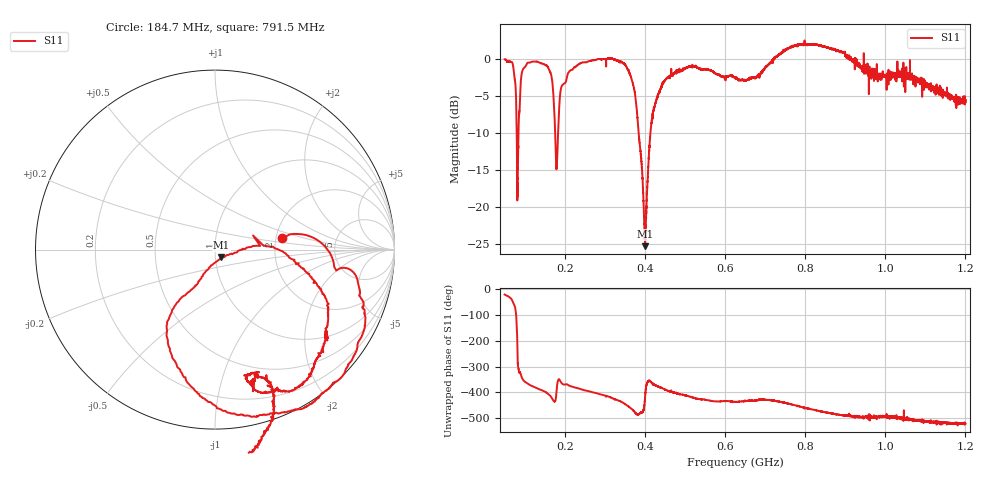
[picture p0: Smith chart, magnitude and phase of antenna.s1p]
! Calibrated high-resolution NanoVNA antenna measurement
# Hz S RI R 50
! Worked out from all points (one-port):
!   40001 points, 50 MHz to 1.2 GHz, reference 50 ohm
!   lowest |S11| = -25.3 dB at 400.7 MHz (marker M1), VSWR 1.11, Z = 53.4 - j4.48 ohm
!   |S11| at or under -10 dB: 80.22 MHz to 84.61 MHz (4.391 MHz wide, 5.33 % of centre); 176.1 MHz to 183.5 MHz (7.36 MHz wide, 4.09 % of centre); 384.6 MHz to 413.9 MHz (29.37 MHz wide, 7.36 % of centre) (the widest 3 of 6)
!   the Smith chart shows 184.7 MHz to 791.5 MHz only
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5e7  0.9256 -0.3696
6.457625e7  0.7809 -0.5476
7.279875e7  0.4411 -0.7065
8.015875e7  -0.2154 -0.244
8.809375e7  0.3996 0.3042
9.556875e7  0.8366 0.1493
1.049988e8  0.9233 -0.0481
1.4407e8  0.7879 -0.4974
1.637925e8  0.4932 -0.648
1.736825e8  0.1274 -0.4563
1.796912e8  0.151 -0.1032
1.857575e8  0.4318 0.0869
1.9375e8  0.6612 -0.0724
2.6275e8  0.7835 -0.5749
3.375e8  0.2702 -0.9203
3.559e8  -0.0104 -0.8614
3.736962e8  -0.2475 -0.5647
4.006638e8  0.0344 -0.0419
4.230888e8  0.458 -0.0795
4.8125e8  0.5919 -0.5723
5.2656e8  0.4094 -0.7909
6.25e8  0.1786 -0.7293
7.163962e8  0.3262 -0.9069
7.6875e8  0.0629 -1.215
8.503425e8  -0.5416 -1.079
9.125e8  -0.6429 -0.7448
1.05625e9  -0.596 -0.4655
1.2e9  -0.4787 -0.1727
